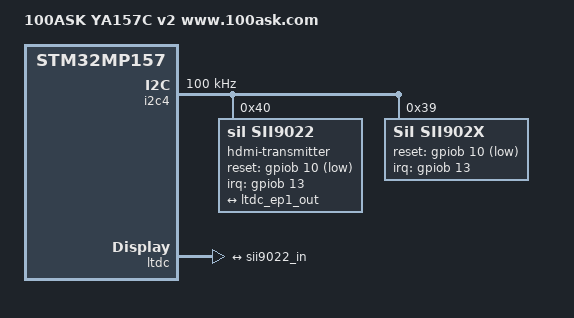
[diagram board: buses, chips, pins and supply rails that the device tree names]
// SPDX-License-Identifier: (GPL-2.0+ OR BSD-3-Clause)
/*
* Copyright (C) 100ASK 2020 - All Rights Reserved
* Author: 100ask
* support: weidongshan@qq.com
*/

/dts-v1/;

#include "stm32mp157c-100ask-512d-v1.dts"

/ {
        model = "100ASK YA157C v2 www.100ask.com";
        compatible = "st,stm32mp157c-100ask-512d-v1", "st,stm32mp157";		
};

&i2c4 {
	clock-frequency = <100000>;

	//hdmi-transmitter@39 { // use a dummy device
	hdmi-transmitter@40 {
		compatible = "sil,sii9022";
		//reg = <0x39>;
		reg = <0x40>;
		reset-gpios = <&gpiob 10 GPIO_ACTIVE_LOW>;
		interrupts = <13 IRQ_TYPE_EDGE_FALLING>;
		interrupt-parent = <&gpiob>;
		pinctrl-names = "default", "sleep";
		pinctrl-0 = <&ltdc_pins_a>;
		pinctrl-1 = <&ltdc_pins_sleep_a>;
		status = "okay";

		ports {
			#address-cells = <1>;
			#size-cells = <0>;

			port@0 {
				reg = <0>;
				sii9022_in: endpoint {
					remote-endpoint = <&ltdc_ep1_out>;
				};
			};

		};
	};

        sii902x: sii902x@39 {
                 compatible = "SiI,sii902x";
		 reset-gpios = <&gpiob 10 GPIO_ACTIVE_LOW>;
                 //pinctrl-names = "default";
                 //pinctrl-0 = <&pinctrl_sii902x>;
		 interrupts = <13 IRQ_TYPE_EDGE_FALLING>;
		 interrupt-parent = <&gpiob>;
                 mode_str ="1280x720M@60";
                 bits-per-pixel = <16>;
                 reg = <0x39>;
                 status = "okay";
         };

};

/* test HDMI*/
&ltdc {
    status = "okay";
    port {
            #address-cells = <1>;
            #size-cells = <0>;

            ltdc_ep1_out: endpoint@1 {
                          reg = <1>;
                          remote-endpoint = <&sii9022_in>;
                         };
        };
};
